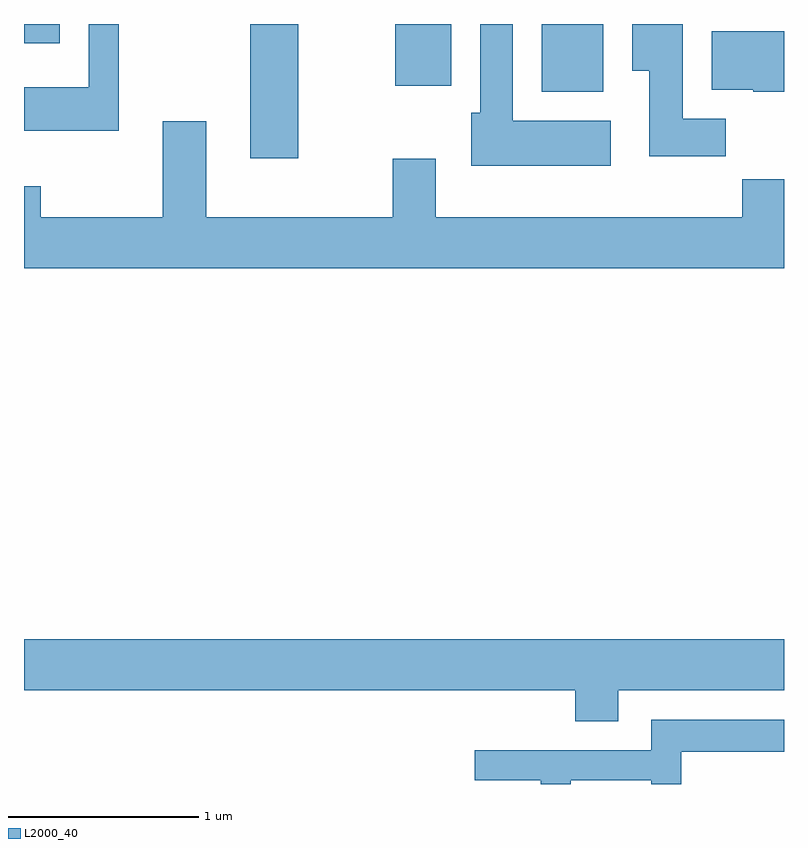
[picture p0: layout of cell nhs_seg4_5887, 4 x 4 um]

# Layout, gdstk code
import gdstk
lib = gdstk.Library(unit=1e-6, precision=1e-09)
def R(c, l, rs):  # rectangles x0, y0, x1, y1
    for r in rs: c.add(gdstk.rectangle(r[:2], r[2:], *l))
def P(c, l, *ps):  # polygons
    for p in ps: c.add(gdstk.Polygon(p, *l))
L2000_40 = (2000, 40)

nhs_seg4_5887 = lib.new_cell('nhs_seg4_5887')
R(nhs_seg4_5887, L2000_40, [(358.801,1335.276,359.054,1335.982), (360.336,1335.626,360.659,1335.982), (359.566,1335.656,359.859,1335.982), (357.611,1335.881,357.799,1335.982)])
P(nhs_seg4_5887, L2000_40, [(360.699,1335.474),(360.184,1335.474),(360.184,1335.982),(360.011,1335.982),(360.011,1335.514),(359.966,1335.514),(359.966,1335.236),(360.699,1335.236)],
  [(358.109,1335.982),(357.951,1335.982),(357.951,1335.649),(357.611,1335.649),(357.611,1335.421),(358.109,1335.421)],
  [(361.304,1335.484),(361.079,1335.484),(361.079,1335.982),(360.811,1335.982),(360.811,1335.736),(360.901,1335.736),(360.901,1335.286),(361.304,1335.286)],
  [(361.611,1335.944),(361.231,1335.944),(361.231,1335.636),(361.45,1335.636),(361.45,1335.626),(361.611,1335.626)],
  [(361.611,1335.164),(361.391,1335.164),(361.391,1334.964),(359.779,1334.964),(359.779,1335.274),(359.551,1335.274),(359.551,1334.964),(358.569,1334.964),(358.569,1335.469),(358.341,1335.469),(358.341,1334.964),(357.699,1334.964),(357.699,1335.129),(357.611,1335.129),(357.611,1334.696),(361.611,1334.696)],
  [(360.739,1332.476),(361.611,1332.476),(361.611,1332.744),(357.611,1332.744),(357.611,1332.476),(360.511,1332.476),(360.511,1332.311),(360.739,1332.311)],
  [(360.489,1332.001),(360.911,1332.001),(360.911,1331.982),(361.069,1331.982),(361.069,1332.151),(361.611,1332.151),(361.611,1332.319),(360.911,1332.319),(360.911,1332.159),(359.983,1332.159),(359.983,1332.001),(360.331,1332.001),(360.331,1331.982),(360.489,1331.982)])

lib.write_gds('nhs_seg4_5887.gds')
